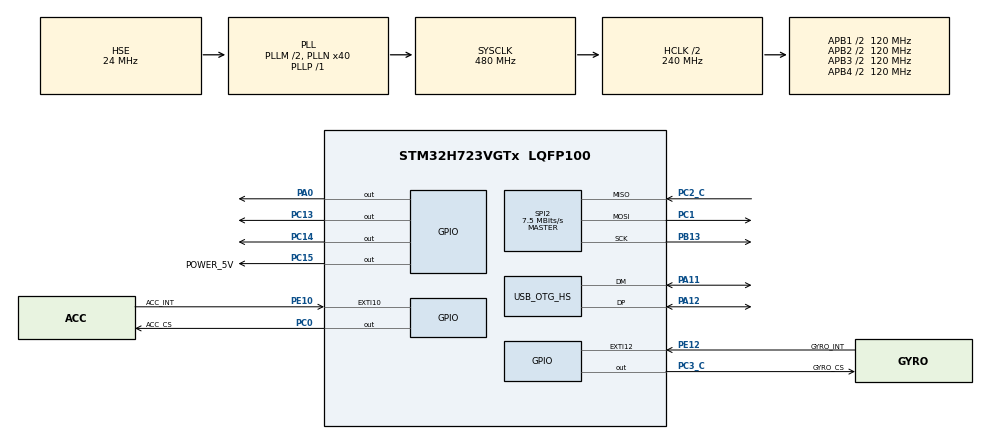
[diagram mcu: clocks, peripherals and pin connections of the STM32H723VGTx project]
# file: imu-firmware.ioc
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CORTEX_M7.default_mode_Activation=1
Dma.Request0=SPI2_RX
Dma.Request1=SPI2_TX
Dma.SPI2_RX.0.Direction=DMA_PERIPH_TO_MEMORY
Dma.SPI2_RX.0.EventEnable=DISABLE
Dma.SPI2_RX.0.FIFOMode=DMA_FIFOMODE_DISABLE
Dma.SPI2_RX.0.Instance=DMA1_Stream0
Dma.SPI2_RX.0.MemDataAlignment=DMA_MDATAALIGN_BYTE
Dma.SPI2_RX.0.MemInc=DMA_MINC_ENABLE
Dma.SPI2_RX.0.Mode=DMA_NORMAL
Dma.SPI2_RX.0.PeriphDataAlignment=DMA_PDATAALIGN_BYTE
Dma.SPI2_RX.0.PeriphInc=DMA_PINC_DISABLE
Dma.SPI2_RX.0.Polarity=HAL_DMAMUX_REQ_GEN_RISING
Dma.SPI2_RX.0.Priority=DMA_PRIORITY_VERY_HIGH
Dma.SPI2_RX.0.RequestNumber=1
Dma.SPI2_RX.0.SignalID=NONE
Dma.SPI2_RX.0.SyncEnable=DISABLE
Dma.SPI2_RX.0.SyncPolarity=HAL_DMAMUX_SYNC_NO_EVENT
Dma.SPI2_RX.0.SyncRequestNumber=1
Dma.SPI2_RX.0.SyncSignalID=NONE
Dma.SPI2_TX.1.Direction=DMA_MEMORY_TO_PERIPH
Dma.SPI2_TX.1.EventEnable=DISABLE
Dma.SPI2_TX.1.FIFOMode=DMA_FIFOMODE_DISABLE
Dma.SPI2_TX.1.Instance=DMA1_Stream1
Dma.SPI2_TX.1.MemDataAlignment=DMA_MDATAALIGN_BYTE
Dma.SPI2_TX.1.MemInc=DMA_MINC_ENABLE
Dma.SPI2_TX.1.Mode=DMA_NORMAL
Dma.SPI2_TX.1.PeriphDataAlignment=DMA_PDATAALIGN_BYTE
Dma.SPI2_TX.1.PeriphInc=DMA_PINC_DISABLE
Dma.SPI2_TX.1.Polarity=HAL_DMAMUX_REQ_GEN_RISING
Dma.SPI2_TX.1.Priority=DMA_PRIORITY_LOW
Dma.SPI2_TX.1.RequestNumber=1
Dma.SPI2_TX.1.SignalID=NONE
Dma.SPI2_TX.1.SyncEnable=DISABLE
Dma.SPI2_TX.1.SyncPolarity=HAL_DMAMUX_SYNC_NO_EVENT
Dma.SPI2_TX.1.SyncRequestNumber=1
Dma.SPI2_TX.1.SyncSignalID=NONE
Mcu.Family=STM32H7
Mcu.Name=STM32H723VGTx
Mcu.Package=LQFP100
NVIC.DMA1_Stream0_IRQn=true\:0\:0\:false\:false\:true\:false\:true\:true
NVIC.DMA1_Stream1_IRQn=true\:0\:0\:false\:false\:true\:false\:true\:true
NVIC.OTG_HS_EP1_IN_IRQn=true\:5\:0\:true\:false\:true\:true\:true\:true
NVIC.OTG_HS_EP1_OUT_IRQn=true\:5\:0\:true\:false\:true\:true\:true\:true
NVIC.OTG_HS_IRQn=true\:5\:0\:true\:false\:true\:true\:true\:true
NVIC.PriorityGroup=NVIC_PRIORITYGROUP_4
NVIC.SPI2_IRQn=true\:5\:0\:true\:false\:true\:false\:true\:true
NVIC.TIM6_DAC_IRQn=true\:5\:0\:true\:false\:true\:true\:true\:true
PA0.Signal=GPIO_Output
PA11.Mode=Device_Only_FS
PA11.Signal=USB_OTG_HS_DM
PA12.Mode=Device_Only_FS
PA12.Signal=USB_OTG_HS_DP
PA13(JTMS/SWDIO).Mode=Serial_Wire
PA13(JTMS/SWDIO).Signal=DEBUG_JTMS-SWDIO
PA14(JTCK/SWCLK).Mode=Serial_Wire
PA14(JTCK/SWCLK).Signal=DEBUG_JTCK-SWCLK
PB13.GPIO_Speed=GPIO_SPEED_FREQ_VERY_HIGH
PB13.Mode=Full_Duplex_Master
PB13.Signal=SPI2_SCK
PC0.GPIO_Label=ACC_CS
PC0.GPIO_Speed=GPIO_SPEED_FREQ_VERY_HIGH
PC0.PinState=GPIO_PIN_SET
PC0.Signal=GPIO_Output
PC1.GPIO_Speed=GPIO_SPEED_FREQ_VERY_HIGH
PC1.Mode=Full_Duplex_Master
PC1.Signal=SPI2_MOSI
PC13.PinState=GPIO_PIN_SET
PC13.Signal=GPIO_Output
PC14-OSC32_IN.PinState=GPIO_PIN_SET
PC14-OSC32_IN.Signal=GPIO_Output
PC15-OSC32_OUT.GPIO_Label=POWER_5V
PC15-OSC32_OUT.PinState=GPIO_PIN_SET
PC15-OSC32_OUT.Signal=GPIO_Output
PC2_C.GPIO_Speed=GPIO_SPEED_FREQ_VERY_HIGH
PC2_C.Mode=Full_Duplex_Master
PC2_C.Signal=SPI2_MISO
PC3_C.GPIO_Label=GYRO_CS
PC3_C.GPIO_Speed=GPIO_SPEED_FREQ_VERY_HIGH
PC3_C.PinState=GPIO_PIN_SET
PC3_C.Signal=GPIO_Output
PE10.GPIO_Label=ACC_INT
PE10.Signal=GPXTI10
PE12.GPIO_Label=GYRO_INT
PE12.Signal=GPXTI12
PH0-OSC_IN.Mode=HSE-External-Oscillator
PH0-OSC_IN.Signal=RCC_OSC_IN
PH1-OSC_OUT.Mode=HSE-External-Oscillator
PH1-OSC_OUT.Signal=RCC_OSC_OUT
ProjectManager.HeapSize=0x200
ProjectManager.StackSize=0x400
ProjectManager.TargetToolchain=Makefile
RCC.ADCFreq_Value=48375000
RCC.APB1Freq_Value=120000000
RCC.APB2Freq_Value=120000000
RCC.APB3Freq_Value=120000000
RCC.APB4Freq_Value=120000000
RCC.CortexFreq_Value=480000000
RCC.D1PPRE=RCC_APB3_DIV2
RCC.D2PPRE1=RCC_APB1_DIV2
RCC.D2PPRE2=RCC_APB2_DIV2
RCC.D3PPRE=RCC_APB4_DIV2
RCC.DIVM1=2
RCC.DIVN1=40
RCC.DIVP1=1
RCC.HCLKFreq_Value=240000000
RCC.HPRE=RCC_HCLK_DIV2
RCC.HSE_VALUE=24000000
RCC.PLL2FRACN=0
RCC.PLL3FRACN=0
RCC.PLLFRACN=0
RCC.PLLSourceVirtual=RCC_PLLSOURCE_HSE
RCC.SYSCLKFreq_VALUE=480000000
RCC.SYSCLKSource=RCC_SYSCLKSOURCE_PLLCLK
RCC.USBCLockSelection=RCC_USBCLKSOURCE_HSI48
RCC.USBFreq_Value=48000000
SPI2.BaudRatePrescaler=SPI_BAUDRATEPRESCALER_32
SPI2.CLKPhase=SPI_PHASE_2EDGE
SPI2.CLKPolarity=SPI_POLARITY_HIGH
SPI2.CalculateBaudRate=7.5 MBits/s
SPI2.DataSize=SPI_DATASIZE_8BIT
SPI2.Direction=SPI_DIRECTION_2LINES
SPI2.Mode=SPI_MODE_MASTER
SPI2.VirtualType=VM_MASTER
TIM6.AutoReloadPreload=TIM_AUTORELOAD_PRELOAD_ENABLE
TIM6.Period=999
TIM6.Prescaler=239
USB_DEVICE.CLASS_NAME_HS=CDC
USB_DEVICE.VirtualMode=Cdc
USB_DEVICE.VirtualModeHS=Cdc_HS
USB_OTG_HS.VirtualMode-Device_Only_FS=Device_Only_FS
VP_MEMORYMAP_VS_MEMORYMAP.Mode=CurAppReg
VP_TIM6_VS_ClockSourceINT.Mode=Enable_Timer
VP_USB_DEVICE_VS_USB_DEVICE_CDC_HS.Mode=CDC_HS
board=custom

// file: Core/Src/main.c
/* USER CODE BEGIN Header */
/**
  ******************************************************************************
  * @file           : main.c
  * @brief          : Main program body
  ******************************************************************************
  * @attention
  *
  * Copyright (c) 2025 STMicroelectronics.
  * All rights reserved.
  *
  * This software is licensed under terms that can be found in the LICENSE file
  * in the root directory of this software component.
  * If no LICENSE file comes with this software, it is provided AS-IS.
  *
  ******************************************************************************
  */
/* USER CODE END Header */
#include "main.h"
#include "dma.h"
#include "memorymap.h"
#include "spi.h"
#include "tim.h"
#include "usb_device.h"
#include "gpio.h"

/* USER CODE BEGIN Includes */
#include "BMI088driver.h"
#include "BMI088Middleware.h"
#include "BMI088reg.h"
#include "SEGGER_RTT.h"
#include "SEGGER_RTT_Conf.h"
#include "bsp_kalman.h"
/* USER CODE END Includes */

/* USER CODE BEGIN PV */
float gyro[3], accel[3], temp;
bsp_kalman_t kalman_filter;
float roll, pitch, yaw;
uint32_t last_time = 0;

/* USER CODE END PV */

void SystemClock_Config(void);
static void MPU_Config(void);

int main(void)
{

  /* MPU Configuration--------------------------------------------------------*/
  MPU_Config();

  /* MCU Configuration--------------------------------------------------------*/

  /* Reset of all peripherals, Initializes the Flash interface and the Systick. */
  HAL_Init();

  /* Configure the system clock */
  SystemClock_Config();

  /* Initialize all configured peripherals */
  MX_GPIO_Init();
  MX_DMA_Init();
  MX_TIM6_Init();
  MX_USB_DEVICE_Init();
  MX_SPI2_Init();
  /* USER CODE BEGIN 2 */
  while(BMI088_init()){
    SEGGER_RTT_printf(0, "BMI088 init failed\n");
    HAL_Delay(10);
  }
  SEGGER_RTT_printf(0, "BMI088 init success\n");

  // Initialize Kalman filter
  bsp_kalman_init(&kalman_filter);
  SEGGER_RTT_printf(0, "Kalman filter initialized\n");

  // Calibrate gyroscope (keep device still)
  SEGGER_RTT_printf(0, "Calibrating gyroscope, keep device still...\n");
  for (int i = 0; i < 1000; i++) {
    BMI088_read(gyro, accel, &temp);
    bsp_kalman_calibrate_gyro(&kalman_filter, gyro, 1000);
    HAL_Delay(2);
  }
  SEGGER_RTT_printf(0, "Gyroscope calibration complete\n");
  SEGGER_RTT_printf(0, "Gyro offsets: %.4f, %.4f, %.4f\n",
                    kalman_filter.gyro_offset[0],
                    kalman_filter.gyro_offset[1],
                    kalman_filter.gyro_offset[2]);

  // Initial accelerometer calibration
  BMI088_read(gyro, accel, &temp);
  bsp_kalman_calibrate_accel(&kalman_filter, accel);
  SEGGER_RTT_printf(0, "Accel calibration complete\n");

  // Let the filter settle
  SEGGER_RTT_printf(0, "Waiting for filter to settle...\n");
  for (int i = 0; i < 500; i++) {
    BMI088_read(gyro, accel, &temp);
    bsp_kalman_update(&kalman_filter, gyro, accel, 0.002f);
    HAL_Delay(2);
  }

  // Start timer for dt calculation
  last_time = HAL_GetTick();

  /* USER CODE END 2 */

  /* Infinite loop */
  /* USER CODE BEGIN WHILE */
  float print_time = 0;
  while (1)
  {
    // Read sensor data
    BMI088_read(gyro, accel, &temp);

    // Calculate dt
    uint32_t current_time = HAL_GetTick();
    float dt = (current_time - last_time) * 0.001f; // Convert to seconds
    last_time = current_time;

    // Update Kalman filter
    bsp_kalman_update(&kalman_filter, gyro, accel, dt);

    // Get filtered angles
    bsp_kalman_get_angles(&kalman_filter, &roll, &pitch, &yaw);

    // Print at 10Hz
    if (HAL_GetTick() - print_time > 100) {
      print_time = HAL_GetTick();
      // SEGGER_RTT_printf(0, "Angles: Roll: %.2f, Pitch: %.2f, Yaw: %.2f | Static: %d | Angle Static: %s (%.1fs)\n",
      //                   roll, pitch, yaw, kalman_filter.static_count,
      //                   kalman_filter.angle_is_static ? "YES" : "NO",
      //                   kalman_filter.angle_static_duration / 1000.0f);

      // Print raw vs filtered comparison every second
      static uint32_t detailed_print = 0;
      if (HAL_GetTick() - detailed_print > 1000) {
        detailed_print = HAL_GetTick();
        SEGGER_RTT_printf(0, "Raw Gyro: %.3f %.3f %.3f | Bias: %.3f %.3f %.3f\n",
                          gyro[0], gyro[1], gyro[2],
                          kalman_filter.gyro_bias[0], kalman_filter.gyro_bias[1], kalman_filter.gyro_bias[2]);

        // Print angle change detection status
        // if (kalman_filter.angle_is_static) {
        //   SEGGER_RTT_printf(0, "ANGLE STATIC: No change > 0.1° for 1 hour\n");
        // }
      }
    }
    /* USER CODE END WHILE */

  }
}

void SystemClock_Config(void)
{
  RCC_OscInitTypeDef RCC_OscInitStruct = {0};
  RCC_ClkInitTypeDef RCC_ClkInitStruct = {0};

  /** Supply configuration update enable
  */
  HAL_PWREx_ConfigSupply(PWR_LDO_SUPPLY);

  /** Configure the main internal regulator output voltage
  */
  __HAL_PWR_VOLTAGESCALING_CONFIG(PWR_REGULATOR_VOLTAGE_SCALE0);

  while(!__HAL_PWR_GET_FLAG(PWR_FLAG_VOSRDY)) {}

  /** Initializes the RCC Oscillators according to the specified parameters
  * in the RCC_OscInitTypeDef structure.
  */
  RCC_OscInitStruct.OscillatorType = RCC_OSCILLATORTYPE_HSI48|RCC_OSCILLATORTYPE_HSE;
  RCC_OscInitStruct.HSEState = RCC_HSE_ON;
  RCC_OscInitStruct.HSI48State = RCC_HSI48_ON;
  RCC_OscInitStruct.PLL.PLLState = RCC_PLL_ON;
  RCC_OscInitStruct.PLL.PLLSource = RCC_PLLSOURCE_HSE;
  RCC_OscInitStruct.PLL.PLLM = 2;
  RCC_OscInitStruct.PLL.PLLN = 40;
  RCC_OscInitStruct.PLL.PLLP = 1;
  RCC_OscInitStruct.PLL.PLLQ = 2;
  RCC_OscInitStruct.PLL.PLLR = 2;
  RCC_OscInitStruct.PLL.PLLRGE = RCC_PLL1VCIRANGE_3;
  RCC_OscInitStruct.PLL.PLLVCOSEL = RCC_PLL1VCOWIDE;
  RCC_OscInitStruct.PLL.PLLFRACN = 0;
  if (HAL_RCC_OscConfig(&RCC_OscInitStruct) != HAL_OK)
  {
    Error_Handler();
  }

  /** Initializes the CPU, AHB and APB buses clocks
  */
  RCC_ClkInitStruct.ClockType = RCC_CLOCKTYPE_HCLK|RCC_CLOCKTYPE_SYSCLK
                              |RCC_CLOCKTYPE_PCLK1|RCC_CLOCKTYPE_PCLK2
                              |RCC_CLOCKTYPE_D3PCLK1|RCC_CLOCKTYPE_D1PCLK1;
  RCC_ClkInitStruct.SYSCLKSource = RCC_SYSCLKSOURCE_PLLCLK;
  RCC_ClkInitStruct.SYSCLKDivider = RCC_SYSCLK_DIV1;
  RCC_ClkInitStruct.AHBCLKDivider = RCC_HCLK_DIV2;
  RCC_ClkInitStruct.APB3CLKDivider = RCC_APB3_DIV2;
  RCC_ClkInitStruct.APB1CLKDivider = RCC_APB1_DIV2;
  RCC_ClkInitStruct.APB2CLKDivider = RCC_APB2_DIV2;
  RCC_ClkInitStruct.APB4CLKDivider = RCC_APB4_DIV2;

  if (HAL_RCC_ClockConfig(&RCC_ClkInitStruct, FLASH_LATENCY_3) != HAL_OK)
  {
    Error_Handler();
  }
}

 /* MPU Configuration */

void MPU_Config(void)
{
  MPU_Region_InitTypeDef MPU_InitStruct = {0};

  /* Disables the MPU */
  HAL_MPU_Disable();

  /** Initializes and configures the Region and the memory to be protected
  */
  MPU_InitStruct.Enable = MPU_REGION_ENABLE;
  MPU_InitStruct.Number = MPU_REGION_NUMBER0;
  MPU_InitStruct.BaseAddress = 0x0;
  MPU_InitStruct.Size = MPU_REGION_SIZE_4GB;
  MPU_InitStruct.SubRegionDisable = 0x87;
  MPU_InitStruct.TypeExtField = MPU_TEX_LEVEL0;
  MPU_InitStruct.AccessPermission = MPU_REGION_NO_ACCESS;
  MPU_InitStruct.DisableExec = MPU_INSTRUCTION_ACCESS_DISABLE;
  MPU_InitStruct.IsShareable = MPU_ACCESS_SHAREABLE;
  MPU_InitStruct.IsCacheable = MPU_ACCESS_NOT_CACHEABLE;
  MPU_InitStruct.IsBufferable = MPU_ACCESS_NOT_BUFFERABLE;

  HAL_MPU_ConfigRegion(&MPU_InitStruct);
  /* Enables the MPU */
  HAL_MPU_Enable(MPU_PRIVILEGED_DEFAULT);

}

void Error_Handler(void)
{
  __disable_irq();
  while (1)
  {
  }
}
